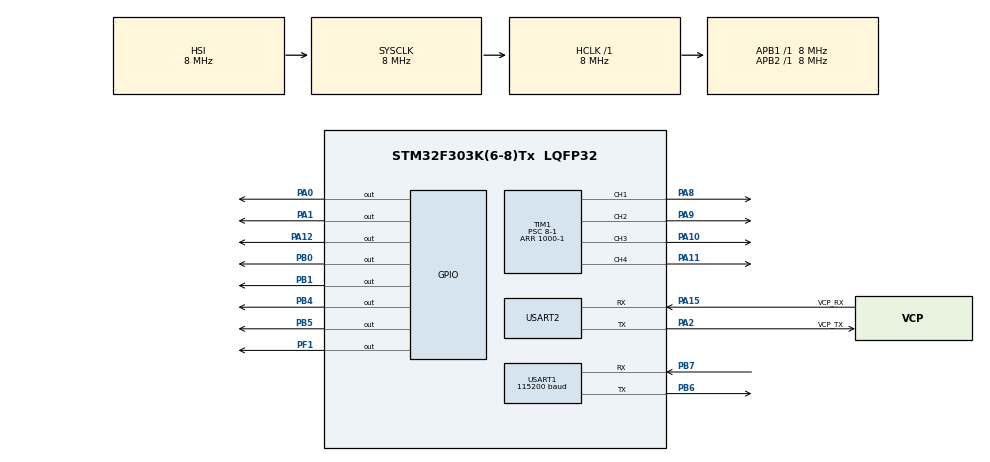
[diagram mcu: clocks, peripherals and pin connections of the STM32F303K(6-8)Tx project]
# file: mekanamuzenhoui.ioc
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Dma.Request0=USART1_RX
Dma.USART1_RX.0.Direction=DMA_PERIPH_TO_MEMORY
Dma.USART1_RX.0.Instance=DMA1_Channel5
Dma.USART1_RX.0.MemDataAlignment=DMA_MDATAALIGN_BYTE
Dma.USART1_RX.0.MemInc=DMA_MINC_ENABLE
Dma.USART1_RX.0.Mode=DMA_CIRCULAR
Dma.USART1_RX.0.PeriphDataAlignment=DMA_PDATAALIGN_BYTE
Dma.USART1_RX.0.PeriphInc=DMA_PINC_DISABLE
Dma.USART1_RX.0.Priority=DMA_PRIORITY_LOW
Mcu.Family=STM32F3
Mcu.Name=STM32F303K(6-8)Tx
Mcu.Package=LQFP32
NVIC.DMA1_Channel5_IRQn=true\:0\:0\:false\:false\:true\:false\:true\:true
NVIC.PriorityGroup=NVIC_PRIORITYGROUP_4
PA0.Signal=GPIO_Output
PA1.Signal=GPIO_Output
PA10.Signal=S_TIM1_CH3
PA11.Signal=S_TIM1_CH4
PA12.Signal=GPIO_Output
PA13.GPIO_Label=SWDIO
PA13.Mode=Serial_Wire
PA13.Signal=SYS_JTMS-SWDIO
PA14.GPIO_Label=SWCLK
PA14.Mode=Serial_Wire
PA14.Signal=SYS_JTCK-SWCLK
PA15.GPIO_Label=VCP_RX
PA15.Mode=Asynchronous
PA15.Signal=USART2_RX
PA2.GPIO_Label=VCP_TX
PA2.Mode=Asynchronous
PA2.Signal=USART2_TX
PA8.Signal=S_TIM1_CH1
PA9.Signal=S_TIM1_CH2
PB0.Signal=GPIO_Output
PB1.Signal=GPIO_Output
PB4.Signal=GPIO_Output
PB5.Signal=GPIO_Output
PB6.Mode=Asynchronous
PB6.Signal=USART1_TX
PB7.Mode=Asynchronous
PB7.Signal=USART1_RX
PF0\ /\ OSC_IN.GPIO_Label=MCO
PF0\ /\ OSC_IN.Mode=HSE-External-Clock-Source
PF0\ /\ OSC_IN.Signal=RCC_OSC_IN
PF1\ /\ OSC_OUT.Signal=GPIO_Output
ProjectManager.HeapSize=0x200
ProjectManager.StackSize=0x400
ProjectManager.TargetToolchain=STM32CubeIDE
RCC.AHBFreq_Value=8000000
RCC.APB1Freq_Value=8000000
RCC.APB2Freq_Value=8000000
RCC.CortexFreq_Value=8000000
RCC.HSE_VALUE=8000000
RCC.HSI_VALUE=8000000
RCC.SYSCLKFreq_VALUE=8000000
SH.S_TIM1_CH1.0=TIM1_CH1,PWM Generation1 CH1
SH.S_TIM1_CH2.0=TIM1_CH2,PWM Generation2 CH2
SH.S_TIM1_CH3.0=TIM1_CH3,PWM Generation3 CH3
SH.S_TIM1_CH4.0=TIM1_CH4,PWM Generation4 CH4
TIM1.Channel-PWM\ Generation1\ CH1=TIM_CHANNEL_1
TIM1.Channel-PWM\ Generation2\ CH2=TIM_CHANNEL_2
TIM1.Channel-PWM\ Generation3\ CH3=TIM_CHANNEL_3
TIM1.Channel-PWM\ Generation4\ CH4=TIM_CHANNEL_4
TIM1.Period=1000-1
TIM1.Prescaler=8-1
USART1.BaudRate=115200
USART1.VirtualMode-Asynchronous=VM_ASYNC
USART2.VirtualMode-Asynchronous=VM_ASYNC
board=NUCLEO-F303K8

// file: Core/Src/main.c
/* USER CODE BEGIN Header */
/**
 ******************************************************************************
 * @file           : main.c
 * @brief          : Main program body
 ******************************************************************************
 * @attention
 *
 * Copyright (c) 2024 STMicroelectronics.
 * All rights reserved.
 *
 * This software is licensed under terms that can be found in the LICENSE file
 * in the root directory of this software component.
 * If no LICENSE file comes with this software, it is provided AS-IS.
 *
 ******************************************************************************
 */
/* USER CODE END Header */
#include "main.h"

/* USER CODE BEGIN Includes */
#include "uart.h"
#include <stdlib.h>
#include <math.h>
/* USER CODE END Includes */

TIM_HandleTypeDef htim1;

UART_HandleTypeDef huart1;
UART_HandleTypeDef huart2;
DMA_HandleTypeDef hdma_usart1_rx;

void SystemClock_Config(void);
static void MX_GPIO_Init(void);
static void MX_DMA_Init(void);
static void MX_USART2_UART_Init(void);
static void MX_TIM1_Init(void);
static void MX_USART1_UART_Init(void);

int main(void) {
	/* USER CODE BEGIN 1 */
	double R = 30;/*動かしたい角度*/
	double radR = R * (M_PI / 180); /*ラジアン表記*/
	double Vx = sin(radR);/*sincosの中はラジアン*/
	double Vy = cos(radR);
	double V1 = (Vx + Vy) * 400;
	double V2 = (-Vx + Vy) * 400;
	double V3 = (-Vx - Vy) * 400;
	double V4 = (Vx - Vy) * 400;
	double ZV1 = fabs(V1);
	double ZV2 = fabs(V2);
	double ZV3 = fabs(V3);
	double ZV4 = fabs(V4); /*fabsは絶対値にするやつ*/

	/* USER CODE END 1 */

	/* MCU Configuration--------------------------------------------------------*/

	/* Reset of all peripherals, Initializes the Flash interface and the Systick. */
	HAL_Init();

	/* Configure the system clock */
	SystemClock_Config();

	/* Initialize all configured peripherals */
	MX_GPIO_Init();
	MX_DMA_Init();
	MX_USART2_UART_Init();
	MX_TIM1_Init();
	MX_USART1_UART_Init();
	/* USER CODE BEGIN 2 */
	struct Uart uart1 = { &huart1 };
	uart_init(&uart1);
	// PWM初期化
	HAL_TIM_PWM_Start(&htim1, TIM_CHANNEL_1);
	HAL_TIM_PWM_Start(&htim1, TIM_CHANNEL_2);
	HAL_TIM_PWM_Start(&htim1, TIM_CHANNEL_3);
	HAL_TIM_PWM_Start(&htim1, TIM_CHANNEL_4);

	// V1
	if (V1 > 0) {
	HAL_GPIO_WritePin(GPIOB, GPIO_PIN_4, SET);
	HAL_GPIO_WritePin(GPIOB, GPIO_PIN_5, RESET);
	__HAL_TIM_SET_COMPARE(&htim1, TIM_CHANNEL_1, V1);
	}
	else if (0 > V1) {
	HAL_GPIO_WritePin(GPIOB, GPIO_PIN_4, RESET);
	HAL_GPIO_WritePin(GPIOB, GPIO_PIN_5, SET);
	__HAL_TIM_SET_COMPARE(&htim1, TIM_CHANNEL_1, ZV1);
	}
	// V2
	if (V2 > 0) {
	HAL_GPIO_WritePin(GPIOA, GPIO_PIN_1, SET);
	HAL_GPIO_WritePin(GPIOA, GPIO_PIN_0, RESET);
	__HAL_TIM_SET_COMPARE(&htim1, TIM_CHANNEL_4, V2);
	} else if (0 > V2) {

	HAL_GPIO_WritePin(GPIOA, GPIO_PIN_1, RESET);
	HAL_GPIO_WritePin(GPIOA, GPIO_PIN_0, SET);
	__HAL_TIM_SET_COMPARE(&htim1, TIM_CHANNEL_4, ZV2);
	}
	// V3
	if (V3 > 0) {
		HAL_GPIO_WritePin(GPIOB, GPIO_PIN_0, SET);
		HAL_GPIO_WritePin(GPIOA, GPIO_PIN_12, RESET);
		__HAL_TIM_SET_COMPARE(&htim1, TIM_CHANNEL_3, V3);
	} else if (0 > V3) {

		HAL_GPIO_WritePin(GPIOB, GPIO_PIN_0, RESET);
		HAL_GPIO_WritePin(GPIOA, GPIO_PIN_12, SET);
		__HAL_TIM_SET_COMPARE(&htim1, TIM_CHANNEL_3, ZV3);

	}
	// V4
	if (V4 > 0) {
		HAL_GPIO_WritePin(GPIOB, GPIO_PIN_1, SET);
		HAL_GPIO_WritePin(GPIOF, GPIO_PIN_1, RESET);
		__HAL_TIM_SET_COMPARE(&htim1, TIM_CHANNEL_2, V4);
	} else if (0 > V4) {

		HAL_GPIO_WritePin(GPIOB, GPIO_PIN_1, RESET);
		HAL_GPIO_WritePin(GPIOF, GPIO_PIN_1, SET);
		__HAL_TIM_SET_COMPARE(&htim1, TIM_CHANNEL_2, ZV4);
	}

	/* USER CODE END 2 */

	/* Infinite loop */
	while (1) {
		}

	}

void SystemClock_Config(void) {
	RCC_OscInitTypeDef RCC_OscInitStruct = { 0 };
	RCC_ClkInitTypeDef RCC_ClkInitStruct = { 0 };
	RCC_PeriphCLKInitTypeDef PeriphClkInit = { 0 };

	/** Initializes the RCC Oscillators according to the specified parameters
	 * in the RCC_OscInitTypeDef structure.
	 */
	RCC_OscInitStruct.OscillatorType = RCC_OSCILLATORTYPE_HSI;
	RCC_OscInitStruct.HSIState = RCC_HSI_ON;
	RCC_OscInitStruct.HSICalibrationValue = RCC_HSICALIBRATION_DEFAULT;
	RCC_OscInitStruct.PLL.PLLState = RCC_PLL_NONE;
	if (HAL_RCC_OscConfig(&RCC_OscInitStruct) != HAL_OK) {
		Error_Handler();
	}

	/** Initializes the CPU, AHB and APB buses clocks
	 */
	RCC_ClkInitStruct.ClockType = RCC_CLOCKTYPE_HCLK | RCC_CLOCKTYPE_SYSCLK
			| RCC_CLOCKTYPE_PCLK1 | RCC_CLOCKTYPE_PCLK2;
	RCC_ClkInitStruct.SYSCLKSource = RCC_SYSCLKSOURCE_HSI;
	RCC_ClkInitStruct.AHBCLKDivider = RCC_SYSCLK_DIV1;
	RCC_ClkInitStruct.APB1CLKDivider = RCC_HCLK_DIV1;
	RCC_ClkInitStruct.APB2CLKDivider = RCC_HCLK_DIV1;

	if (HAL_RCC_ClockConfig(&RCC_ClkInitStruct, FLASH_LATENCY_0) != HAL_OK) {
		Error_Handler();
	}
	PeriphClkInit.PeriphClockSelection = RCC_PERIPHCLK_USART1
			| RCC_PERIPHCLK_TIM1;
	PeriphClkInit.Usart1ClockSelection = RCC_USART1CLKSOURCE_PCLK1;
	PeriphClkInit.Tim1ClockSelection = RCC_TIM1CLK_HCLK;
	if (HAL_RCCEx_PeriphCLKConfig(&PeriphClkInit) != HAL_OK) {
		Error_Handler();
	}
}

static void MX_TIM1_Init(void) {

	TIM_MasterConfigTypeDef sMasterConfig = { 0 };
	TIM_OC_InitTypeDef sConfigOC = { 0 };
	TIM_BreakDeadTimeConfigTypeDef sBreakDeadTimeConfig = { 0 };

	htim1.Instance = TIM1;
	htim1.Init.Prescaler = 8 - 1;
	htim1.Init.CounterMode = TIM_COUNTERMODE_UP;
	htim1.Init.Period = 1000 - 1;
	htim1.Init.ClockDivision = TIM_CLOCKDIVISION_DIV1;
	htim1.Init.RepetitionCounter = 0;
	htim1.Init.AutoReloadPreload = TIM_AUTORELOAD_PRELOAD_DISABLE;
	if (HAL_TIM_PWM_Init(&htim1) != HAL_OK) {
		Error_Handler();
	}
	sMasterConfig.MasterOutputTrigger = TIM_TRGO_RESET;
	sMasterConfig.MasterOutputTrigger2 = TIM_TRGO2_RESET;
	sMasterConfig.MasterSlaveMode = TIM_MASTERSLAVEMODE_DISABLE;
	if (HAL_TIMEx_MasterConfigSynchronization(&htim1, &sMasterConfig)
			!= HAL_OK) {
		Error_Handler();
	}
	sConfigOC.OCMode = TIM_OCMODE_PWM1;
	sConfigOC.Pulse = 0;
	sConfigOC.OCPolarity = TIM_OCPOLARITY_HIGH;
	sConfigOC.OCNPolarity = TIM_OCNPOLARITY_HIGH;
	sConfigOC.OCFastMode = TIM_OCFAST_DISABLE;
	sConfigOC.OCIdleState = TIM_OCIDLESTATE_RESET;
	sConfigOC.OCNIdleState = TIM_OCNIDLESTATE_RESET;
	if (HAL_TIM_PWM_ConfigChannel(&htim1, &sConfigOC, TIM_CHANNEL_1)
			!= HAL_OK) {
		Error_Handler();
	}
	if (HAL_TIM_PWM_ConfigChannel(&htim1, &sConfigOC, TIM_CHANNEL_2)
			!= HAL_OK) {
		Error_Handler();
	}
	if (HAL_TIM_PWM_ConfigChannel(&htim1, &sConfigOC, TIM_CHANNEL_3)
			!= HAL_OK) {
		Error_Handler();
	}
	if (HAL_TIM_PWM_ConfigChannel(&htim1, &sConfigOC, TIM_CHANNEL_4)
			!= HAL_OK) {
		Error_Handler();
	}
	sBreakDeadTimeConfig.OffStateRunMode = TIM_OSSR_DISABLE;
	sBreakDeadTimeConfig.OffStateIDLEMode = TIM_OSSI_DISABLE;
	sBreakDeadTimeConfig.LockLevel = TIM_LOCKLEVEL_OFF;
	sBreakDeadTimeConfig.DeadTime = 0;
	sBreakDeadTimeConfig.BreakState = TIM_BREAK_DISABLE;
	sBreakDeadTimeConfig.BreakPolarity = TIM_BREAKPOLARITY_HIGH;
	sBreakDeadTimeConfig.BreakFilter = 0;
	sBreakDeadTimeConfig.Break2State = TIM_BREAK2_DISABLE;
	sBreakDeadTimeConfig.Break2Polarity = TIM_BREAK2POLARITY_HIGH;
	sBreakDeadTimeConfig.Break2Filter = 0;
	sBreakDeadTimeConfig.AutomaticOutput = TIM_AUTOMATICOUTPUT_DISABLE;
	if (HAL_TIMEx_ConfigBreakDeadTime(&htim1, &sBreakDeadTimeConfig)
			!= HAL_OK) {
		Error_Handler();
	}
	HAL_TIM_MspPostInit(&htim1);

}

static void MX_USART1_UART_Init(void) {

	huart1.Instance = USART1;
	huart1.Init.BaudRate = 115200;
	huart1.Init.WordLength = UART_WORDLENGTH_8B;
	huart1.Init.StopBits = UART_STOPBITS_1;
	huart1.Init.Parity = UART_PARITY_NONE;
	huart1.Init.Mode = UART_MODE_TX_RX;
	huart1.Init.HwFlowCtl = UART_HWCONTROL_NONE;
	huart1.Init.OverSampling = UART_OVERSAMPLING_16;
	huart1.Init.OneBitSampling = UART_ONE_BIT_SAMPLE_DISABLE;
	huart1.AdvancedInit.AdvFeatureInit = UART_ADVFEATURE_NO_INIT;
	if (HAL_UART_Init(&huart1) != HAL_OK) {
		Error_Handler();
	}

}

static void MX_USART2_UART_Init(void) {

	huart2.Instance = USART2;
	huart2.Init.BaudRate = 38400;
	huart2.Init.WordLength = UART_WORDLENGTH_8B;
	huart2.Init.StopBits = UART_STOPBITS_1;
	huart2.Init.Parity = UART_PARITY_NONE;
	huart2.Init.Mode = UART_MODE_TX_RX;
	huart2.Init.HwFlowCtl = UART_HWCONTROL_NONE;
	huart2.Init.OverSampling = UART_OVERSAMPLING_16;
	huart2.Init.OneBitSampling = UART_ONE_BIT_SAMPLE_DISABLE;
	huart2.AdvancedInit.AdvFeatureInit = UART_ADVFEATURE_NO_INIT;
	if (HAL_UART_Init(&huart2) != HAL_OK) {
		Error_Handler();
	}

}

static void MX_DMA_Init(void) {

	/* DMA controller clock enable */
	__HAL_RCC_DMA1_CLK_ENABLE();

	/* DMA interrupt init */
	/* DMA1_Channel5_IRQn interrupt configuration */
	HAL_NVIC_SetPriority(DMA1_Channel5_IRQn, 0, 0);
	HAL_NVIC_EnableIRQ(DMA1_Channel5_IRQn);

}

static void MX_GPIO_Init(void) {
	GPIO_InitTypeDef GPIO_InitStruct = { 0 };

	/* GPIO Ports Clock Enable */
	__HAL_RCC_GPIOF_CLK_ENABLE();
	__HAL_RCC_GPIOA_CLK_ENABLE();
	__HAL_RCC_GPIOB_CLK_ENABLE();

	/*Configure GPIO pin Output Level */
	HAL_GPIO_WritePin(GPIOF, GPIO_PIN_1, GPIO_PIN_RESET);

	/*Configure GPIO pin Output Level */
	HAL_GPIO_WritePin(GPIOA, GPIO_PIN_0 | GPIO_PIN_1 | GPIO_PIN_12,
			GPIO_PIN_RESET);

	/*Configure GPIO pin Output Level */
	HAL_GPIO_WritePin(GPIOB, GPIO_PIN_0 | GPIO_PIN_1 | GPIO_PIN_4 | GPIO_PIN_5,
			GPIO_PIN_RESET);

	/*Configure GPIO pin : PF1 */
	GPIO_InitStruct.Pin = GPIO_PIN_1;
	GPIO_InitStruct.Mode = GPIO_MODE_OUTPUT_PP;
	GPIO_InitStruct.Pull = GPIO_NOPULL;
	GPIO_InitStruct.Speed = GPIO_SPEED_FREQ_LOW;
	HAL_GPIO_Init(GPIOF, &GPIO_InitStruct);

	/*Configure GPIO pins : PA0 PA1 PA12 */
	GPIO_InitStruct.Pin = GPIO_PIN_0 | GPIO_PIN_1 | GPIO_PIN_12;
	GPIO_InitStruct.Mode = GPIO_MODE_OUTPUT_PP;
	GPIO_InitStruct.Pull = GPIO_NOPULL;
	GPIO_InitStruct.Speed = GPIO_SPEED_FREQ_LOW;
	HAL_GPIO_Init(GPIOA, &GPIO_InitStruct);

	/*Configure GPIO pins : PB0 PB1 PB4 PB5 */
	GPIO_InitStruct.Pin = GPIO_PIN_0 | GPIO_PIN_1 | GPIO_PIN_4 | GPIO_PIN_5;
	GPIO_InitStruct.Mode = GPIO_MODE_OUTPUT_PP;
	GPIO_InitStruct.Pull = GPIO_NOPULL;
	GPIO_InitStruct.Speed = GPIO_SPEED_FREQ_LOW;
	HAL_GPIO_Init(GPIOB, &GPIO_InitStruct);

}

void Error_Handler(void) {
	__disable_irq();
	while (1) {
	}
}
